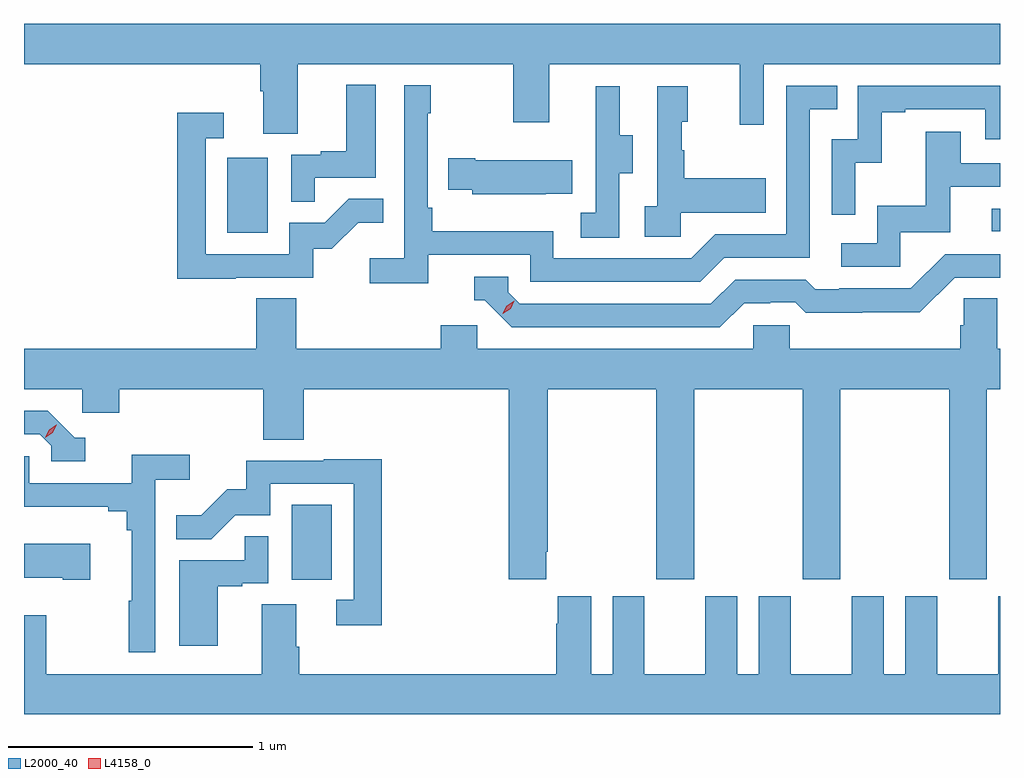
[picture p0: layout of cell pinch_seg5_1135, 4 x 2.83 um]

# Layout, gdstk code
import gdstk
lib = gdstk.Library(unit=1e-6, precision=1e-09)
def R(c, l, rs):  # rectangles x0, y0, x1, y1
    for r in rs: c.add(gdstk.rectangle(r[:2], r[2:], *l))
def P(c, l, *ps):  # polygons
    for p in ps: c.add(gdstk.Polygon(p, *l))
L2000_40 = (2000, 40)
L4158_0 = (4158, 0)

pinch_seg5_1135 = lib.new_cell('pinch_seg5_1135')
R(pinch_seg5_1135, L2000_40, [(842.24,835.998,842.404,836.305), (841.976,837.42,842.14,837.727), (845.109,837.426,845.142,837.519)])
P(pinch_seg5_1135, L2000_40, [(842.263,838.112),(843.148,838.112),(843.148,837.873),(843.295,837.873),(843.295,838.112),(844.076,838.112),(844.076,837.864),(844.173,837.864),(844.173,838.112),(845.142,838.112),(845.142,838.276),(841.142,838.276),(841.142,838.112),(842.111,838.112),(842.111,838),(842.123,838),(842.123,837.826),(842.263,837.826)],
  [(842.333,837.645),(842.584,837.645),(842.584,838.027),(842.462,838.027),(842.462,837.754),(842.359,837.754),(842.359,837.741),(842.238,837.741),(842.238,837.547),(842.333,837.547)],
  [(842.798,837.33),(843.216,837.33),(843.216,837.219),(843.913,837.219),(844.012,837.318),(844.362,837.318),(844.362,837.927),(844.475,837.927),(844.475,838.023),(844.266,838.023),(844.266,837.414),(843.975,837.414),(843.876,837.315),(843.312,837.315),(843.312,837.427),(842.816,837.427),(842.816,837.523),(842.796,837.523),(842.796,837.911),(842.809,837.911),(842.809,838.024),(842.7,838.024),(842.7,837.316),(842.559,837.316),(842.559,837.214),(842.798,837.214)],
  [(844.548,837.707),(844.658,837.707),(844.658,837.915),(844.753,837.915),(844.753,837.927),(845.082,837.927),(845.082,837.804),(845.142,837.804),(845.142,838.023),(844.56,838.023),(844.56,837.804),(844.452,837.804),(844.452,837.495),(844.548,837.495)],
  [(843.582,837.664),(843.637,837.664),(843.637,837.819),(843.583,837.819),(843.583,838.021),(843.485,838.021),(843.485,837.807),(843.486,837.807),(843.486,837.503),(843.423,837.503),(843.423,837.4),(843.582,837.4)],
  [(843.834,837.503),(844.181,837.503),(844.181,837.643),(843.847,837.643),(843.847,837.758),(843.837,837.758),(843.837,837.876),(843.862,837.876),(843.862,838.021),(843.738,838.021),(843.738,837.53),(843.687,837.53),(843.687,837.405),(843.834,837.405)],
  [(842.009,837.237),(842.328,837.237),(842.328,837.354),(842.404,837.354),(842.511,837.461),(842.615,837.461),(842.615,837.56),(842.472,837.56),(842.374,837.462),(842.229,837.462),(842.229,837.333),(841.887,837.333),(841.887,837.807),(841.96,837.807),(841.96,837.913),(841.771,837.913),(841.771,837.232),(842.009,837.232)],
  [(844.734,837.423),(844.939,837.423),(844.939,837.609),(845.142,837.609),(845.142,837.705),(844.981,837.705),(844.981,837.835),(844.837,837.835),(844.837,837.532),(844.638,837.532),(844.638,837.378),(844.491,837.378),(844.491,837.282),(844.734,837.282)],
  [(843.281,837.581),(843.389,837.581),(843.389,837.718),(842.992,837.718),(842.992,837.726),(842.881,837.726),(842.881,837.596),(842.979,837.596),(842.979,837.578),(843.281,837.578)],
  [(844.093,837.132),(844.2,837.132),(844.2,837.135),(844.303,837.135),(844.345,837.093),(844.578,837.093),(844.578,837.095),(844.814,837.095),(844.956,837.237),(845.142,837.237),(845.142,837.333),(844.917,837.333),(844.776,837.192),(844.483,837.192),(844.483,837.189),(844.384,837.189),(844.345,837.228),(844.056,837.228),(843.957,837.129),(843.174,837.129),(843.126,837.177),(843.126,837.24),(842.987,837.24),(842.987,837.144),(843.03,837.144),(843.141,837.033),(843.994,837.033)],
  [(843.283,836.113),(843.288,836.113),(843.288,836.78),(843.733,836.78),(843.733,836.001),(843.888,836.001),(843.888,836.78),(844.333,836.78),(844.333,836.001),(844.488,836.001),(844.488,836.78),(844.933,836.78),(844.933,836.001),(845.088,836.001),(845.088,836.78),(845.142,836.78),(845.142,836.944),(845.13,836.944),(845.13,837.152),(844.993,837.152),(844.993,837.042),(844.979,837.042),(844.979,836.944),(844.281,836.944),(844.281,837.042),(844.131,837.042),(844.131,836.944),(843,836.944),(843,837.042),(842.849,837.042),(842.849,836.944),(842.258,836.944),(842.258,837.152),(842.093,837.152),(842.093,836.944),(841.142,836.944),(841.142,836.78),(841.38,836.78),(841.38,836.682),(841.532,836.682),(841.532,836.78),(842.123,836.78),(842.123,836.572),(842.288,836.572),(842.288,836.78),(843.128,836.78),(843.128,836.001),(843.283,836.001)],
  [(841.393,836.58),(841.35,836.58),(841.239,836.691),(841.142,836.691),(841.142,836.595),(841.206,836.595),(841.254,836.547),(841.254,836.484),(841.393,836.484)],
  [(841.68,836.408),(841.822,836.408),(841.822,836.51),(841.583,836.51),(841.583,836.394),(841.164,836.394),(841.164,836.505),(841.142,836.505),(841.142,836.297),(841.487,836.297),(841.487,836.278),(841.564,836.278),(841.564,836.201),(841.583,836.201),(841.583,835.913),(841.572,835.913),(841.572,835.701),(841.68,835.701)],
  [(842.609,836.492),(842.371,836.492),(842.371,836.487),(842.053,836.487),(842.053,836.37),(841.976,836.37),(841.869,836.263),(841.765,836.263),(841.765,836.164),(841.909,836.164),(842.007,836.262),(842.151,836.262),(842.151,836.391),(842.493,836.391),(842.493,835.917),(842.421,835.917),(842.421,835.812),(842.609,835.812)],
  [(841.936,835.971),(842.036,835.971),(842.036,835.983),(842.142,835.983),(842.142,836.177),(842.047,836.177),(842.047,836.079),(841.778,836.079),(841.778,835.728),(841.936,835.728)],
  [(841.414,836.146),(841.142,836.146),(841.142,836.006),(841.301,836.006),(841.301,835.999),(841.414,835.999)],
  [(845.142,835.93),(845.135,835.93),(845.135,835.612),(844.885,835.612),(844.885,835.93),(844.754,835.93),(844.754,835.612),(844.666,835.612),(844.666,835.93),(844.535,835.93),(844.535,835.612),(844.285,835.612),(844.285,835.93),(844.154,835.93),(844.154,835.612),(844.066,835.612),(844.066,835.93),(843.935,835.93),(843.935,835.612),(843.685,835.612),(843.685,835.93),(843.554,835.93),(843.554,835.612),(843.466,835.612),(843.466,835.93),(843.329,835.93),(843.329,835.817),(843.323,835.817),(843.323,835.612),(842.27,835.612),(842.27,835.724),(842.257,835.724),(842.257,835.898),(842.117,835.898),(842.117,835.612),(841.233,835.612),(841.233,835.852),(841.142,835.852),(841.142,835.448),(845.142,835.448)])
P(pinch_seg5_1135, L4158_0, [(843.105,837.089),(843.105,837.09),(843.12,837.122),(843.151,837.142),(843.151,837.142),(843.151,837.142),(843.136,837.109),(843.105,837.089)],
  [(841.23,836.581),(841.23,836.582),(841.245,836.614),(841.275,836.634),(841.276,836.634),(841.276,836.634),(841.26,836.601),(841.23,836.581)])

lib.write_gds('pinch_seg5_1135.gds')
